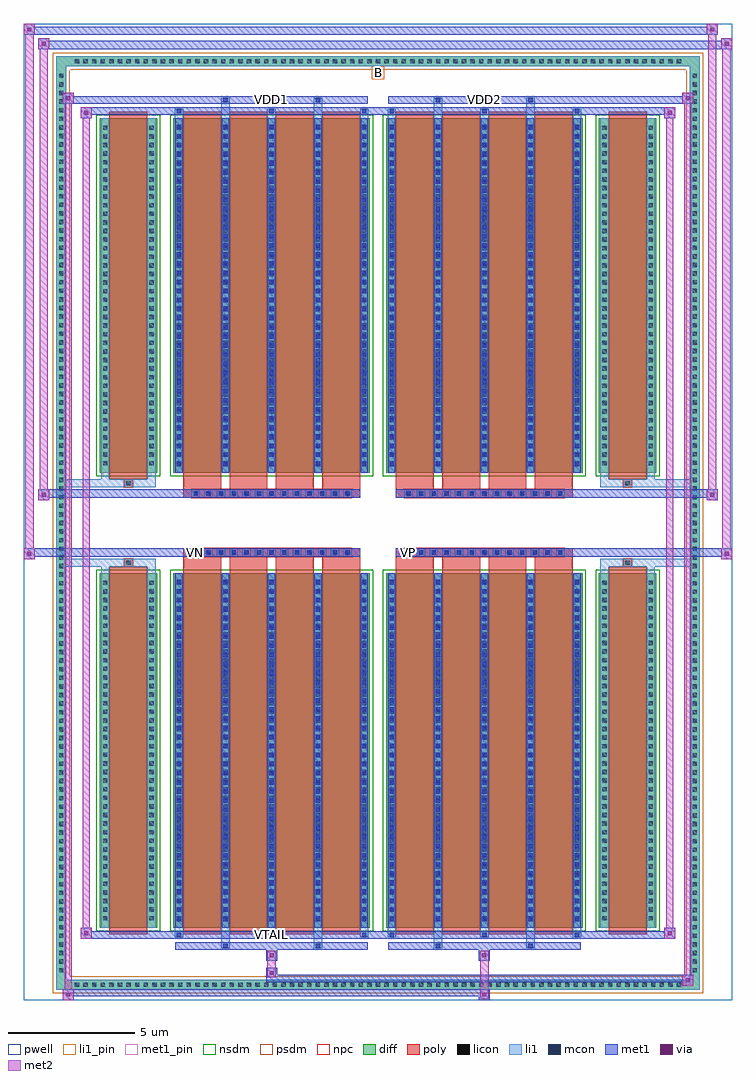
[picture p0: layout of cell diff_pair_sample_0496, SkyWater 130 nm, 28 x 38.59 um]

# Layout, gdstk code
import gdstk
lib = gdstk.Library(unit=1e-6, precision=5e-09)
def R(c, l, rs):  # rectangles x0, y0, x1, y1
    for r in rs: c.add(gdstk.rectangle(r[:2], r[2:], *l))
def A(c, l, x, y, w, h, nx, ny, dx, dy):  # array of equal rectangles
    R(c, l, [(x+i*dx, y+j*dy, x+i*dx+w, y+j*dy+h) for i in range(nx) for j in range(ny)])
def P(c, l, *ps):  # polygons
    for p in ps: c.add(gdstk.Polygon(p, *l))
pwell = (64, 44)
diff = (65, 20)
poly = (66, 20)
licon = (66, 44)
li1_pin = (67, 16)
li1 = (67, 20)
mcon = (67, 44)
met1_pin = (68, 16)
met1 = (68, 20)
via = (68, 44)
met2 = (69, 20)
nsdm = (93, 44)
psdm = (94, 20)
npc = (95, 20)

diff_pair_sample_0496 = lib.new_cell('diff_pair_sample_0496')
R(diff_pair_sample_0496, pwell, [(-14,-18.86,14,19.73), (-11.32,-17.05,-0.01,-0.805), (0.01,-17.05,11.32,-0.805), (-11.32,0.805,-0.01,17.05), (0.01,0.805,11.32,17.05)])
A(diff_pair_sample_0496, diff, -12.105, -18.46, 0.41, 0.41, 71, 2, 0.34, 36.51)
A(diff_pair_sample_0496, diff, -12.73, -17.885, 0.41, 0.41, 1, 105, 0, 0.34)
A(diff_pair_sample_0496, diff, 12.32, -17.885, 0.41, 0.41, 1, 105, 0, 0.34)
R(diff_pair_sample_0496, diff, [(-12.105,-18.46,12.105,-18.05), (-12.73,-17.885,-12.32,17.885), (12.32,-17.885,12.73,17.885), (-11.01,-16.005,-8.73,-1.985), (-8.09,-16.005,-0.32,-1.985), (0.32,-16.005,8.09,-1.985), (8.73,-16.005,11.01,-1.985), (-11.01,1.985,-8.73,16.005), (-8.09,1.985,-0.32,16.005), (0.32,1.985,8.09,16.005), (8.73,1.985,11.01,16.005), (-12.105,18.05,12.105,18.46)])
P(diff_pair_sample_0496, diff, [(12.73,18.46),(-12.73,18.46),(-12.73,-18.05),(-12.32,-18.05),(-12.32,18.05),(12.32,18.05),(12.32,-18.05),(-12.32,-18.05),(-12.73,-18.05),(-12.73,-18.46),(12.73,-18.46)])
A(diff_pair_sample_0496, poly, -7.7, -16.255, 1.5, 14.52, 4, 2, 1.83, 17.99)
A(diff_pair_sample_0496, poly, 0.71, -16.255, 1.5, 14.52, 4, 2, 1.83, 17.99)
A(diff_pair_sample_0496, poly, -7.7, -1.735, 1.5, 0.4, 4, 2, 1.83, 3.07)
A(diff_pair_sample_0496, poly, 0.71, -1.735, 1.5, 0.4, 4, 2, 1.83, 3.07)
A(diff_pair_sample_0496, poly, -7.37, -1.335, 0.33, 0.33, 13, 2, 0.5, 2.34)
A(diff_pair_sample_0496, poly, 1.04, -1.335, 0.33, 0.33, 13, 2, 0.5, 2.34)
R(diff_pair_sample_0496, poly, [(-10.62,-16.255,-9.12,-1.735), (9.12,-16.255,10.62,-1.735), (-10.035,-1.735,-9.705,-1.405), (-10.035,-1.735,-9.705,-1.405), (9.705,-1.735,10.035,-1.405), (9.705,-1.735,10.035,-1.405), (-7.7,-1.335,-0.71,-1.005), (0.71,-1.335,7.7,-1.005), (-7.7,1.005,-0.71,1.335), (0.71,1.005,7.7,1.335), (-10.035,1.405,-9.705,1.735), (-10.035,1.405,-9.705,1.735), (9.705,1.405,10.035,1.735), (9.705,1.405,10.035,1.735), (-10.62,1.735,-9.12,16.255), (9.12,1.735,10.62,16.255)])
A(diff_pair_sample_0496, licon, -11.985, -18.34, 0.17, 0.17, 71, 2, 0.34, 36.51)
A(diff_pair_sample_0496, licon, -12.61, -17.765, 0.17, 0.17, 1, 105, 0, 0.34)
A(diff_pair_sample_0496, licon, 12.44, -17.765, 0.17, 0.17, 1, 105, 0, 0.34)
A(diff_pair_sample_0496, licon, -10.87, -15.71, 0.17, 0.17, 1, 40, 0, 0.34)
A(diff_pair_sample_0496, licon, -9.04, -15.71, 0.17, 0.17, 1, 40, 0, 0.34)
A(diff_pair_sample_0496, licon, -7.95, -15.71, 0.17, 0.17, 5, 40, 1.83, 0.34)
A(diff_pair_sample_0496, licon, 0.46, -15.71, 0.17, 0.17, 5, 40, 1.83, 0.34)
A(diff_pair_sample_0496, licon, 8.87, -15.71, 0.17, 0.17, 1, 40, 0, 0.34)
A(diff_pair_sample_0496, licon, 10.7, -15.71, 0.17, 0.17, 1, 40, 0, 0.34)
A(diff_pair_sample_0496, licon, -7.29, -1.255, 0.17, 0.17, 13, 2, 0.5, 2.34)
A(diff_pair_sample_0496, licon, 1.12, -1.255, 0.17, 0.17, 13, 2, 0.5, 2.34)
A(diff_pair_sample_0496, licon, -10.87, 2.28, 0.17, 0.17, 1, 40, 0, 0.34)
A(diff_pair_sample_0496, licon, -9.04, 2.28, 0.17, 0.17, 1, 40, 0, 0.34)
A(diff_pair_sample_0496, licon, -7.95, 2.28, 0.17, 0.17, 5, 40, 1.83, 0.34)
A(diff_pair_sample_0496, licon, 0.46, 2.28, 0.17, 0.17, 5, 40, 1.83, 0.34)
A(diff_pair_sample_0496, licon, 8.87, 2.28, 0.17, 0.17, 1, 40, 0, 0.34)
A(diff_pair_sample_0496, licon, 10.7, 2.28, 0.17, 0.17, 1, 40, 0, 0.34)
R(diff_pair_sample_0496, licon, [(-9.955,-1.655,-9.785,-1.485), (9.785,-1.655,9.955,-1.485), (-9.955,1.485,-9.785,1.655), (9.785,1.485,9.955,1.655)])
R(diff_pair_sample_0496, li1_pin, [(-0.25,17.55,0.25,18.05)])
A(diff_pair_sample_0496, li1, -12.065, -18.42, 0.33, 0.33, 71, 2, 0.34, 36.51)
A(diff_pair_sample_0496, li1, -12.69, -17.845, 0.33, 0.33, 1, 105, 0, 0.34)
A(diff_pair_sample_0496, li1, 12.36, -17.845, 0.33, 0.33, 1, 105, 0, 0.34)
A(diff_pair_sample_0496, li1, -8.03, -16.38, 0.33, 0.375, 3, 2, 3.66, 32.385)
A(diff_pair_sample_0496, li1, -7.95, -16.38, 0.17, 0.17, 3, 2, 3.66, 32.59)
A(diff_pair_sample_0496, li1, 0.38, -16.38, 0.33, 0.375, 3, 2, 3.66, 32.385)
A(diff_pair_sample_0496, li1, 0.46, -16.38, 0.17, 0.17, 3, 2, 3.66, 32.59)
A(diff_pair_sample_0496, li1, -8.03, -16.005, 0.33, 14.02, 5, 2, 1.83, 17.99)
A(diff_pair_sample_0496, li1, 0.38, -16.005, 0.33, 14.02, 5, 2, 1.83, 17.99)
A(diff_pair_sample_0496, li1, -10.95, -15.79, 0.33, 0.33, 1, 40, 0, 0.34)
A(diff_pair_sample_0496, li1, -9.12, -15.79, 0.33, 0.33, 1, 40, 0, 0.34)
A(diff_pair_sample_0496, li1, -8.03, -15.79, 0.33, 0.33, 5, 40, 1.83, 0.34)
A(diff_pair_sample_0496, li1, 0.38, -15.79, 0.33, 0.33, 5, 40, 1.83, 0.34)
A(diff_pair_sample_0496, li1, 8.79, -15.79, 0.33, 0.33, 1, 40, 0, 0.34)
A(diff_pair_sample_0496, li1, 10.62, -15.79, 0.33, 0.33, 1, 40, 0, 0.34)
A(diff_pair_sample_0496, li1, -7.95, -15.74, 0.17, 0.17, 5, 38, 1.83, 0.36)
A(diff_pair_sample_0496, li1, -7.95, -15.74, 0.17, 13.49, 5, 2, 1.83, 17.99)
A(diff_pair_sample_0496, li1, 0.46, -15.74, 0.17, 0.17, 5, 38, 1.83, 0.36)
A(diff_pair_sample_0496, li1, 0.46, -15.74, 0.17, 13.49, 5, 2, 1.83, 17.99)
A(diff_pair_sample_0496, li1, -7.37, -1.335, 0.33, 0.33, 13, 2, 0.5, 2.34)
A(diff_pair_sample_0496, li1, 1.04, -1.335, 0.33, 0.33, 13, 2, 0.5, 2.34)
A(diff_pair_sample_0496, li1, -10.95, 2.2, 0.33, 0.33, 1, 40, 0, 0.34)
A(diff_pair_sample_0496, li1, -9.12, 2.2, 0.33, 0.33, 1, 40, 0, 0.34)
A(diff_pair_sample_0496, li1, -8.03, 2.2, 0.33, 0.33, 5, 40, 1.83, 0.34)
A(diff_pair_sample_0496, li1, 0.38, 2.2, 0.33, 0.33, 5, 40, 1.83, 0.34)
A(diff_pair_sample_0496, li1, 8.79, 2.2, 0.33, 0.33, 1, 40, 0, 0.34)
A(diff_pair_sample_0496, li1, 10.62, 2.2, 0.33, 0.33, 1, 40, 0, 0.34)
A(diff_pair_sample_0496, li1, -7.95, 2.25, 0.17, 0.17, 5, 38, 1.83, 0.36)
A(diff_pair_sample_0496, li1, 0.46, 2.25, 0.17, 0.17, 5, 38, 1.83, 0.36)
R(diff_pair_sample_0496, li1, [(-12.73,-18.46,-12.32,-18.05), (-12.73,-18.46,-12.32,-18.05), (-12.32,-18.46,12.32,-18.05), (12.32,-18.46,12.73,-18.05), (12.32,-18.46,12.73,-18.05), (-12.73,-18.05,-12.32,18.05), (12.32,-18.05,12.73,18.05), (-6.2,-16.81,-5.87,-16.005), (-6.12,-16.81,-5.95,-16.64), (-2.54,-16.81,-2.21,-16.005), (-2.46,-16.81,-2.29,-16.64), (2.21,-16.81,2.54,-16.005), (2.29,-16.81,2.46,-16.64), (5.87,-16.81,6.2,-16.005), (5.95,-16.81,6.12,-16.64), (-10.95,-16.005,-10.62,-1.985), (-9.12,-16.005,-8.79,-1.985), (8.79,-16.005,9.12,-1.985), (10.62,-16.005,10.95,-1.985), (-10.95,-1.985,-10.62,-1.405), (-9.12,-1.985,-8.79,-1.405), (8.79,-1.985,9.12,-1.405), (10.62,-1.985,10.95,-1.405), (-12.73,-1.735,-10.035,-1.405), (-10.95,-1.735,-10.035,-1.405), (-10.035,-1.735,-9.705,-1.405), (-9.705,-1.735,-8.79,-1.405), (8.79,-1.735,9.705,-1.405), (9.705,-1.735,10.035,-1.405), (9.705,-1.735,12.73,-1.405), (10.035,-1.735,10.95,-1.405), (-12.73,1.405,-10.035,1.735), (-10.95,1.405,-10.035,1.735), (-10.95,1.405,-10.62,1.985), (-10.035,1.405,-9.705,1.735), (-9.705,1.405,-8.79,1.735), (-9.12,1.405,-8.79,1.985), (8.79,1.405,9.705,1.735), (8.79,1.405,9.12,1.985), (9.705,1.405,10.035,1.735), (9.705,1.405,12.73,1.735), (10.035,1.405,10.95,1.735), (10.62,1.405,10.95,1.985), (-10.95,1.985,-10.62,16.005), (-9.12,1.985,-8.79,16.005), (8.79,1.985,9.12,16.005), (10.62,1.985,10.95,16.005), (-6.2,16.005,-5.87,16.81), (-2.54,16.005,-2.21,16.81), (2.21,16.005,2.54,16.81), (5.87,16.005,6.2,16.81), (-6.12,16.64,-5.95,16.81), (-2.46,16.64,-2.29,16.81), (2.29,16.64,2.46,16.81), (5.95,16.64,6.12,16.81), (-12.73,18.05,-12.32,18.46), (-12.73,18.05,-12.32,18.46), (-12.32,18.05,12.32,18.46), (12.32,18.05,12.73,18.46), (12.32,18.05,12.73,18.46)])
A(diff_pair_sample_0496, mcon, -7.95, -16.38, 0.17, 0.17, 3, 2, 3.66, 32.59)
A(diff_pair_sample_0496, mcon, 0.46, -16.38, 0.17, 0.17, 3, 2, 3.66, 32.59)
A(diff_pair_sample_0496, mcon, -7.95, -15.74, 0.17, 0.17, 5, 38, 1.83, 0.36)
A(diff_pair_sample_0496, mcon, 0.46, -15.74, 0.17, 0.17, 5, 38, 1.83, 0.36)
A(diff_pair_sample_0496, mcon, -7.29, -1.255, 0.17, 0.17, 13, 2, 0.5, 2.34)
A(diff_pair_sample_0496, mcon, 1.12, -1.255, 0.17, 0.17, 13, 2, 0.5, 2.34)
A(diff_pair_sample_0496, mcon, -7.95, 2.25, 0.17, 0.17, 5, 38, 1.83, 0.36)
A(diff_pair_sample_0496, mcon, 0.46, 2.25, 0.17, 0.17, 5, 38, 1.83, 0.36)
R(diff_pair_sample_0496, mcon, [(-6.12,-16.81,-5.95,-16.64), (-2.46,-16.81,-2.29,-16.64), (2.29,-16.81,2.46,-16.64), (5.95,-16.81,6.12,-16.64), (-6.12,16.64,-5.95,16.81), (-2.46,16.64,-2.29,16.81), (2.29,16.64,2.46,16.81), (5.95,16.64,6.12,16.81)])
R(diff_pair_sample_0496, met1_pin, [(-4.34,-16.42,-4.07,-16.15), (-7.34,-1.295,-7.07,-1.025), (1.07,-1.295,1.34,-1.025), (-4.34,16.6,-4.07,16.87), (4.07,16.6,4.34,16.87)])
A(diff_pair_sample_0496, met1, -8.01, -16.44, 0.29, 0.29, 3, 2, 3.66, 32.59)
A(diff_pair_sample_0496, met1, 0.4, -16.44, 0.29, 0.29, 3, 2, 3.66, 32.59)
A(diff_pair_sample_0496, met1, -8.01, -16.005, 0.29, 14.02, 5, 2, 1.83, 17.99)
A(diff_pair_sample_0496, met1, 0.4, -16.005, 0.29, 14.02, 5, 2, 1.83, 17.99)
A(diff_pair_sample_0496, met1, -8.01, -15.8, 0.29, 0.29, 5, 38, 1.83, 0.36)
A(diff_pair_sample_0496, met1, 0.4, -15.8, 0.29, 0.29, 5, 38, 1.83, 0.36)
A(diff_pair_sample_0496, met1, -7.35, -1.315, 0.29, 0.29, 13, 2, 0.5, 2.34)
A(diff_pair_sample_0496, met1, 1.06, -1.315, 0.29, 0.29, 13, 2, 0.5, 2.34)
A(diff_pair_sample_0496, met1, -8.01, 2.19, 0.29, 0.29, 5, 38, 1.83, 0.36)
A(diff_pair_sample_0496, met1, 0.4, 2.19, 0.29, 0.29, 5, 38, 1.83, 0.36)
R(diff_pair_sample_0496, met1, [(-12.46,-18.86,-12.03,-18.43), (3.99,-18.86,4.42,-18.43), (-12.46,-18.72,4.42,-18.43), (12.03,-18.29,12.46,-17.86), (-4.42,-18.15,12.46,-17.86), (-4.42,-18.01,-3.99,-17.58), (-4.42,-17.3,-3.99,-16.87), (3.99,-17.3,4.42,-16.87), (-8.01,-16.87,-0.4,-16.58), (-6.18,-16.87,-5.89,-16.58), (-2.52,-16.87,-2.23,-16.58), (0.4,-16.87,8.01,-16.58), (2.23,-16.87,2.52,-16.58), (5.89,-16.87,6.18,-16.58), (-11.75,-16.44,-11.32,-16.01), (-11.75,-16.44,-8.01,-16.15), (-8.01,-16.44,-0.4,-16.15), (-0.4,-16.44,0.4,-16.15), (0.4,-16.44,8.01,-16.15), (8.01,-16.44,11.75,-16.15), (11.32,-16.44,11.75,-16.01), (-14,-1.435,-13.57,-1.005), (13.57,-1.435,14,-1.005), (-14,-1.335,-0.71,-1.005), (-7.7,-1.335,-0.71,-1.005), (0.71,-1.335,7.7,-1.005), (0.71,-1.335,14,-1.005), (-13.43,0.905,-13,1.335), (13,0.905,13.43,1.335), (-13.43,1.005,-7.7,1.335), (-7.7,1.005,-0.71,1.335), (0.71,1.005,7.7,1.335), (7.7,1.005,13.43,1.335), (-11.75,16.01,-11.32,16.44), (11.32,16.01,11.75,16.44), (-11.75,16.15,-8.01,16.44), (-8.01,16.15,-0.4,16.44), (-0.4,16.15,0.4,16.44), (0.4,16.15,8.01,16.44), (8.01,16.15,11.75,16.44), (-12.46,16.58,-12.03,17.01), (-12.46,16.58,-8.01,16.87), (-8.01,16.58,-0.4,16.87), (-6.18,16.58,-5.89,16.87), (-2.52,16.58,-2.23,16.87), (0.4,16.58,8.01,16.87), (2.23,16.58,2.52,16.87), (5.89,16.58,6.18,16.87), (8.01,16.58,12.46,16.87), (12.03,16.58,12.46,17.01), (-13.43,18.73,-13,19.16), (-13.43,18.73,-11.32,19.06), (-11.32,18.73,11.32,19.06), (11.32,18.73,14,19.06), (13.57,18.73,14,19.16), (-14,19.3,-13.57,19.73), (-14,19.3,-11.32,19.63), (-11.32,19.3,11.32,19.63), (11.32,19.3,13.43,19.63), (13,19.3,13.43,19.73)])
R(diff_pair_sample_0496, via, [(-12.32,-18.72,-12.17,-18.57), (4.13,-18.72,4.28,-18.57), (12.17,-18.15,12.32,-18), (-4.28,-17.87,-4.13,-17.72), (-4.28,-17.16,-4.13,-17.01), (4.13,-17.16,4.28,-17.01), (-11.61,-16.3,-11.46,-16.15), (11.46,-16.3,11.61,-16.15), (-13.86,-1.295,-13.71,-1.145), (13.71,-1.295,13.86,-1.145), (-13.29,1.045,-13.14,1.195), (13.14,1.045,13.29,1.195), (-11.61,16.15,-11.46,16.3), (11.46,16.15,11.61,16.3), (-12.32,16.72,-12.17,16.87), (12.17,16.72,12.32,16.87), (-13.29,18.87,-13.14,19.02), (13.71,18.87,13.86,19.02), (-13.86,19.44,-13.71,19.59), (13.14,19.44,13.29,19.59)])
R(diff_pair_sample_0496, met2, [(-12.46,-18.86,-12.03,-18.43), (-12.39,-18.86,-12.1,17.01), (-12.1,-18.86,-12.03,-18.43), (-12.41,-18.81,-12.08,-18.48), (4.04,-18.81,4.37,-18.48), (4.04,-18.48,4.37,-17.25), (12.03,-18.29,12.46,-17.86), (12.1,-18.29,12.39,17.01), (12.39,-18.29,12.46,-17.86), (12.08,-18.24,12.41,-17.91), (-4.37,-17.96,-4.04,-17.63), (-4.37,-17.63,-4.04,-17.25), (-4.37,-17.25,-4.04,-16.92), (4.04,-17.25,4.37,-16.92), (-11.75,-16.44,-11.32,-16.01), (-11.68,-16.44,-11.39,16.44), (-11.39,-16.44,-11.32,-16.01), (11.32,-16.44,11.75,-16.01), (11.39,-16.44,11.68,16.44), (11.68,-16.44,11.75,-16.01), (-11.7,-16.39,-11.37,-16.06), (11.37,-16.39,11.7,-16.06), (-14,-1.435,-13.57,-1.005), (-13.95,-1.435,-13.62,19.73), (-13.62,-1.435,-13.57,-1.005), (13.57,-1.435,14,-1.005), (13.62,-1.435,13.95,19.16), (13.95,-1.435,14,-1.005), (-13.95,-1.385,-13.62,-1.055), (13.62,-1.385,13.95,-1.055), (-13.43,0.905,-13,1.335), (-13.38,0.905,-13.05,19.16), (-13.05,0.905,-13,1.335), (13,0.905,13.43,1.335), (13.05,0.905,13.38,19.73), (13.38,0.905,13.43,1.335), (-13.38,0.955,-13.05,1.285), (13.05,0.955,13.38,1.285), (-11.75,16.01,-11.32,16.44), (-11.39,16.01,-11.32,16.44), (11.32,16.01,11.75,16.44), (11.68,16.01,11.75,16.44), (-11.7,16.06,-11.37,16.39), (11.37,16.06,11.7,16.39), (-12.46,16.58,-12.03,17.01), (-12.1,16.58,-12.03,17.01), (12.03,16.58,12.46,17.01), (12.39,16.58,12.46,17.01), (-12.41,16.63,-12.08,16.96), (12.08,16.63,12.41,16.96), (-13.43,18.73,-13,19.16), (-13.05,18.73,-13,19.16), (13.57,18.73,14,19.16), (13.95,18.73,14,19.16), (-13.38,18.78,-13.05,19.11), (13.62,18.78,13.95,19.11), (-14,19.3,-13.57,19.73), (-13.62,19.3,-13.57,19.73), (13,19.3,13.43,19.73), (13.38,19.3,13.43,19.73), (-13.95,19.35,-13.62,19.68), (13.05,19.35,13.38,19.68)])
R(diff_pair_sample_0496, nsdm, [(-11.14,-16.135,-8.6,-1.855), (-8.22,-16.135,-0.19,-1.855), (0.19,-16.135,8.22,-1.855), (8.6,-16.135,11.14,-1.855), (-11.14,1.855,-8.6,16.135), (-8.22,1.855,-0.19,16.135), (0.19,1.855,8.22,16.135), (8.6,1.855,11.14,16.135)])
P(diff_pair_sample_0496, psdm, [(12.86,18.59),(-12.86,18.59),(-12.86,-17.92),(-12.19,-17.92),(-12.19,17.92),(12.19,17.92),(12.19,-17.92),(-12.19,-17.92),(-12.86,-17.92),(-12.86,-18.59),(12.86,-18.59)])
A(diff_pair_sample_0496, npc, -7.39, -1.355, 0.37, 0.37, 13, 2, 0.5, 2.34)
A(diff_pair_sample_0496, npc, 1.02, -1.355, 0.37, 0.37, 13, 2, 0.5, 2.34)
R(diff_pair_sample_0496, npc, [(-10.055,-1.755,-9.685,-1.385), (9.685,-1.755,10.055,-1.385), (-7.39,-1.355,-6.52,-0.985), (-7.39,-1.355,-6.52,-0.985), (-6.89,-1.355,-6.02,-0.985), (-6.89,-1.355,-6.02,-0.985), (-6.39,-1.355,-5.52,-0.985), (-6.39,-1.355,-5.52,-0.985), (-5.89,-1.355,-5.02,-0.985), (-5.89,-1.355,-5.02,-0.985), (-5.39,-1.355,-4.52,-0.985), (-5.39,-1.355,-4.52,-0.985), (-4.89,-1.355,-4.02,-0.985), (-4.89,-1.355,-4.02,-0.985), (-4.39,-1.355,-3.52,-0.985), (-4.39,-1.355,-3.52,-0.985), (-3.89,-1.355,-3.02,-0.985), (-3.89,-1.355,-3.02,-0.985), (-3.39,-1.355,-2.52,-0.985), (-3.39,-1.355,-2.52,-0.985), (-2.89,-1.355,-2.02,-0.985), (-2.89,-1.355,-2.02,-0.985), (-2.39,-1.355,-1.52,-0.985), (-2.39,-1.355,-1.52,-0.985), (-1.89,-1.355,-1.02,-0.985), (-1.89,-1.355,-1.02,-0.985), (1.02,-1.355,1.89,-0.985), (1.02,-1.355,1.89,-0.985), (1.52,-1.355,2.39,-0.985), (1.52,-1.355,2.39,-0.985), (2.02,-1.355,2.89,-0.985), (2.02,-1.355,2.89,-0.985), (2.52,-1.355,3.39,-0.985), (2.52,-1.355,3.39,-0.985), (3.02,-1.355,3.89,-0.985), (3.02,-1.355,3.89,-0.985), (3.52,-1.355,4.39,-0.985), (3.52,-1.355,4.39,-0.985), (4.02,-1.355,4.89,-0.985), (4.02,-1.355,4.89,-0.985), (4.52,-1.355,5.39,-0.985), (4.52,-1.355,5.39,-0.985), (5.02,-1.355,5.89,-0.985), (5.02,-1.355,5.89,-0.985), (5.52,-1.355,6.39,-0.985), (5.52,-1.355,6.39,-0.985), (6.02,-1.355,6.89,-0.985), (6.02,-1.355,6.89,-0.985), (6.52,-1.355,7.39,-0.985), (6.52,-1.355,7.39,-0.985), (-7.39,0.985,-6.52,1.355), (-7.39,0.985,-6.52,1.355), (-6.89,0.985,-6.02,1.355), (-6.89,0.985,-6.02,1.355), (-6.39,0.985,-5.52,1.355), (-6.39,0.985,-5.52,1.355), (-5.89,0.985,-5.02,1.355), (-5.89,0.985,-5.02,1.355), (-5.39,0.985,-4.52,1.355), (-5.39,0.985,-4.52,1.355), (-4.89,0.985,-4.02,1.355), (-4.89,0.985,-4.02,1.355), (-4.39,0.985,-3.52,1.355), (-4.39,0.985,-3.52,1.355), (-3.89,0.985,-3.02,1.355), (-3.89,0.985,-3.02,1.355), (-3.39,0.985,-2.52,1.355), (-3.39,0.985,-2.52,1.355), (-2.89,0.985,-2.02,1.355), (-2.89,0.985,-2.02,1.355), (-2.39,0.985,-1.52,1.355), (-2.39,0.985,-1.52,1.355), (-1.89,0.985,-1.02,1.355), (-1.89,0.985,-1.02,1.355), (1.02,0.985,1.89,1.355), (1.02,0.985,1.89,1.355), (1.52,0.985,2.39,1.355), (1.52,0.985,2.39,1.355), (2.02,0.985,2.89,1.355), (2.02,0.985,2.89,1.355), (2.52,0.985,3.39,1.355), (2.52,0.985,3.39,1.355), (3.02,0.985,3.89,1.355), (3.02,0.985,3.89,1.355), (3.52,0.985,4.39,1.355), (3.52,0.985,4.39,1.355), (4.02,0.985,4.89,1.355), (4.02,0.985,4.89,1.355), (4.52,0.985,5.39,1.355), (4.52,0.985,5.39,1.355), (5.02,0.985,5.89,1.355), (5.02,0.985,5.89,1.355), (5.52,0.985,6.39,1.355), (5.52,0.985,6.39,1.355), (6.02,0.985,6.89,1.355), (6.02,0.985,6.89,1.355), (6.52,0.985,7.39,1.355), (6.52,0.985,7.39,1.355), (-10.055,1.385,-9.685,1.755), (9.685,1.385,10.055,1.755)])
diff_pair_sample_0496.add(gdstk.Label('VTAIL', (-4.205,-16.285), layer=68, texttype=5))
diff_pair_sample_0496.add(gdstk.Label('VN', (-7.205,-1.16), layer=68, texttype=5))
diff_pair_sample_0496.add(gdstk.Label('VP', (1.205,-1.16), layer=68, texttype=5))
diff_pair_sample_0496.add(gdstk.Label('B', (0,17.8), layer=67, texttype=5))
diff_pair_sample_0496.add(gdstk.Label('VDD2', (4.205,16.735), layer=68, texttype=5))
diff_pair_sample_0496.add(gdstk.Label('VDD1', (-4.205,16.735), layer=68, texttype=5))

lib.write_gds('diff_pair_sample_0496.gds')
